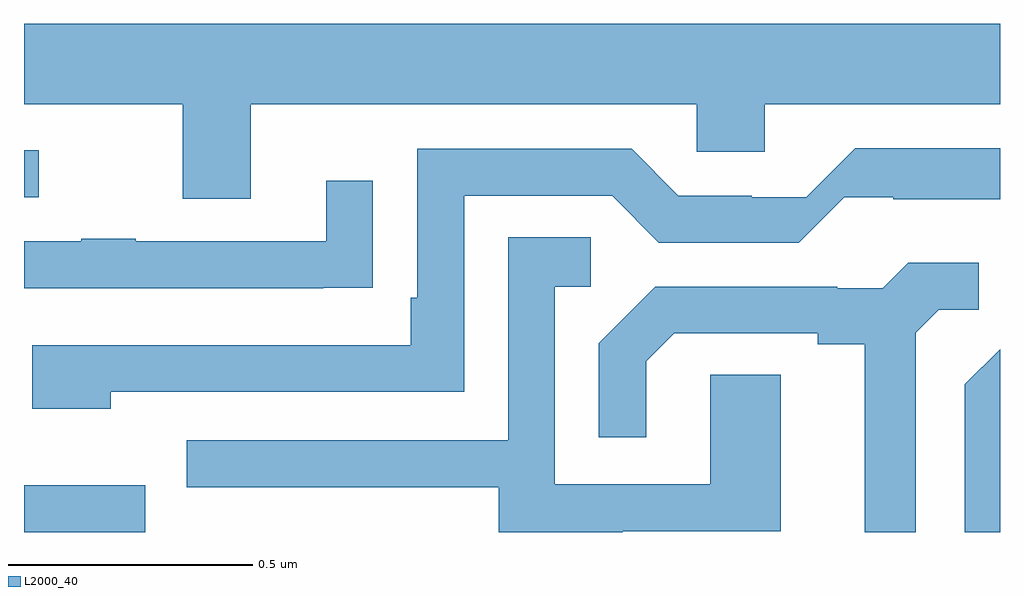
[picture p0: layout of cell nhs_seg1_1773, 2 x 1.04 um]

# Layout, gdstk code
import gdstk
lib = gdstk.Library(unit=1e-6, precision=1e-09)
def R(c, l, rs):  # rectangles x0, y0, x1, y1
    for r in rs: c.add(gdstk.rectangle(r[:2], r[2:], *l))
def P(c, l, *ps):  # polygons
    for p in ps: c.add(gdstk.Polygon(p, *l))
L2000_40 = (2000, 40)

nhs_seg1_1773 = lib.new_cell('nhs_seg1_1773')
R(nhs_seg1_1773, L2000_40, [(133,540.199,133.248,540.295), (133,540.885,133.03,540.981)])
P(nhs_seg1_1773, L2000_40, [(133.465,541.076),(134.379,541.076),(134.379,540.978),(134.518,540.978),(134.518,541.076),(135,541.076),(135,541.24),(133,541.24),(133,541.076),(133.325,541.076),(133.325,540.882),(133.465,540.882)],
  [(133.178,540.486),(133.902,540.486),(133.902,540.888),(134.205,540.888),(134.301,540.792),(134.588,540.792),(134.681,540.885),(134.781,540.885),(134.781,540.881),(135,540.881),(135,540.985),(134.703,540.985),(134.603,540.885),(134.491,540.885),(134.491,540.888),(134.341,540.888),(134.245,540.984),(133.806,540.984),(133.806,540.679),(133.793,540.679),(133.793,540.582),(133.017,540.582),(133.017,540.452),(133.178,540.452)],
  [(133.613,540.7),(133.715,540.7),(133.715,540.919),(133.619,540.919),(133.619,540.795),(133.229,540.795),(133.229,540.8),(133.117,540.8),(133.117,540.795),(133,540.795),(133,540.699),(133.613,540.699)],
  [(134.227,540.201),(134.551,540.201),(134.551,540.521),(134.406,540.521),(134.406,540.297),(134.088,540.297),(134.088,540.702),(134.161,540.702),(134.161,540.803),(133.992,540.803),(133.992,540.387),(133.333,540.387),(133.333,540.291),(133.973,540.291),(133.973,540.199),(134.227,540.199)],
  [(134.827,540.607),(134.874,540.654),(134.956,540.654),(134.956,540.751),(134.812,540.751),(134.76,540.699),(134.666,540.699),(134.666,540.702),(134.294,540.702),(134.178,540.586),(134.178,540.393),(134.275,540.393),(134.275,540.549),(134.332,540.606),(134.627,540.606),(134.627,540.584),(134.723,540.584),(134.723,540.199),(134.827,540.199)],
  [(135,540.574),(134.928,540.502),(134.928,540.199),(135,540.199)])

lib.write_gds('nhs_seg1_1773.gds')
